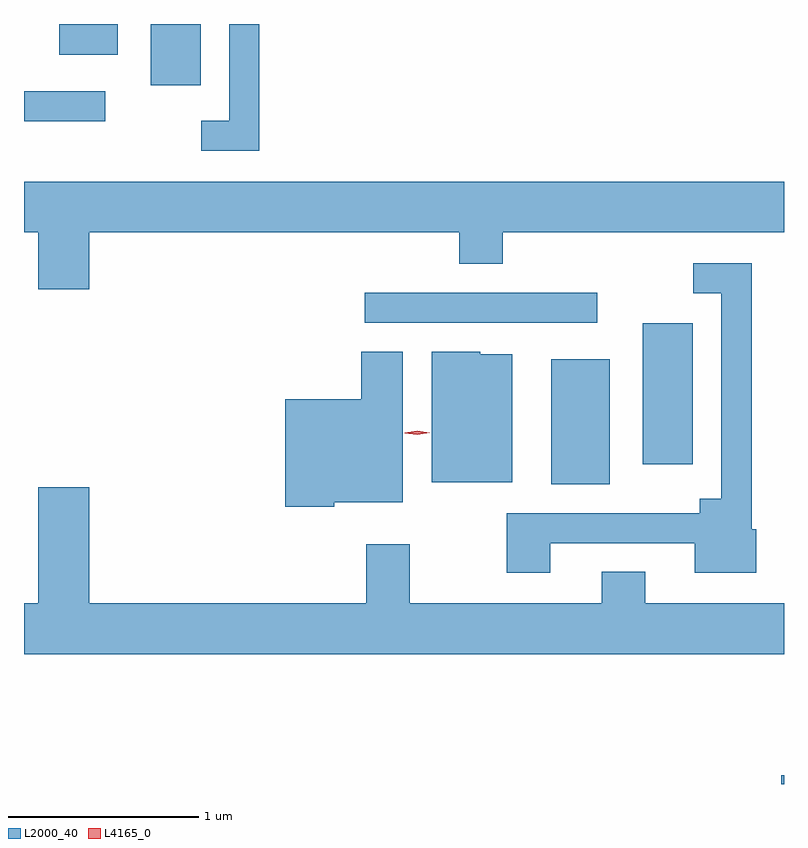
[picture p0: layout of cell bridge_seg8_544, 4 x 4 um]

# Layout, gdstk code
import gdstk
lib = gdstk.Library(unit=1e-6, precision=1e-09)
def R(c, l, rs):  # rectangles x0, y0, x1, y1
    for r in rs: c.add(gdstk.rectangle(r[:2], r[2:], *l))
def P(c, l, *ps):  # polygons
    for p in ps: c.add(gdstk.Polygon(p, *l))
L2000_40 = (2000, 40)
L4165_0 = (4165, 0)

bridge_seg8_544 = lib.new_cell('bridge_seg8_544')
R(bridge_seg8_544, L2000_40, [(438.766,1860.153,438.78,1860.199), (437.556,1861.731,437.864,1862.389), (438.036,1861.836,438.299,1862.579), (436.573,1862.581,437.798,1862.739), (434.78,1863.641,435.208,1863.799), (435.446,1863.831,435.709,1864.153), (434.966,1863.991,435.274,1864.153)])
P(bridge_seg8_544, L2000_40, [(436.019,1864.153),(435.861,1864.153),(435.861,1863.644),(435.713,1863.644),(435.713,1863.486),(436.019,1863.486)],
  [(435.124,1863.056),(437.071,1863.056),(437.071,1862.891),(437.299,1862.891),(437.299,1863.056),(438.78,1863.056),(438.78,1863.324),(434.78,1863.324),(434.78,1863.056),(434.856,1863.056),(434.856,1862.756),(435.124,1862.756)],
  [(437.549,1861.421),(438.311,1861.421),(438.311,1861.266),(438.634,1861.266),(438.634,1861.494),(438.609,1861.494),(438.609,1862.894),(438.303,1862.894),(438.303,1862.736),(438.451,1862.736),(438.451,1861.654),(438.336,1861.654),(438.336,1861.579),(437.321,1861.579),(437.321,1861.266),(437.549,1861.266)],
  [(437.349,1862.414),(437.18,1862.414),(437.18,1862.429),(436.926,1862.429),(436.926,1861.741),(437.349,1861.741)],
  [(436.414,1861.636),(436.774,1861.636),(436.774,1862.429),(436.556,1862.429),(436.556,1862.179),(436.156,1862.179),(436.156,1861.611),(436.414,1861.611)],
  [(438.78,1861.104),(438.049,1861.104),(438.049,1861.269),(437.821,1861.269),(437.821,1861.104),(436.809,1861.104),(436.809,1861.414),(436.581,1861.414),(436.581,1861.104),(435.124,1861.104),(435.124,1861.714),(434.856,1861.714),(434.856,1861.104),(434.78,1861.104),(434.78,1860.836),(438.78,1860.836)])
P(bridge_seg8_544, L4165_0, [(436.85,1861.991),(436.784,1862),(436.784,1862),(436.784,1862.001),(436.85,1862.011),(436.916,1862.002),(436.916,1862.001),(436.916,1862.001)])

lib.write_gds('bridge_seg8_544.gds')
